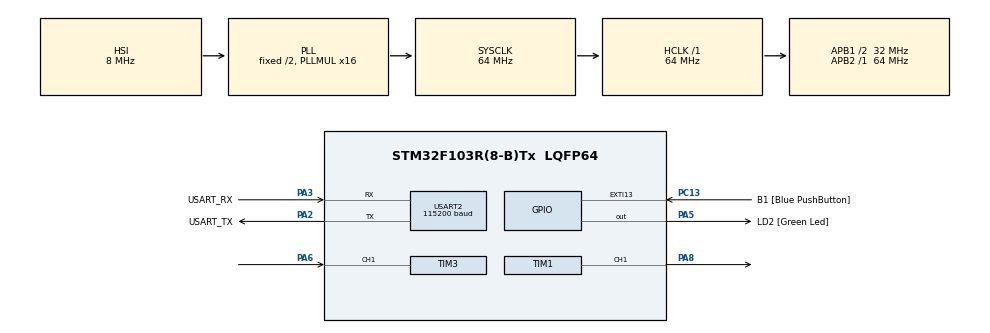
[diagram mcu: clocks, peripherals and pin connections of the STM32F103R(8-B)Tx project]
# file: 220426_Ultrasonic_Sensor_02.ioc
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Mcu.Family=STM32F1
Mcu.Name=STM32F103R(8-B)Tx
Mcu.Package=LQFP64
NVIC.EXTI15_10_IRQn=true\:0\:0\:false\:false\:true\:true\:true\:true
NVIC.PriorityGroup=NVIC_PRIORITYGROUP_4
NVIC.TIM3_IRQn=true\:0\:0\:false\:false\:true\:true\:true\:true
PA13.GPIO_Label=TMS
PA13.Mode=Serial_Wire
PA13.Signal=SYS_JTMS-SWDIO
PA14.GPIO_Label=TCK
PA14.Mode=Serial_Wire
PA14.Signal=SYS_JTCK-SWCLK
PA2.GPIO_Label=USART_TX
PA2.GPIO_Mode=GPIO_MODE_AF_PP
PA2.GPIO_PuPd=GPIO_NOPULL
PA2.GPIO_Speed=GPIO_SPEED_FREQ_LOW
PA2.Mode=Asynchronous
PA2.Signal=USART2_TX
PA3.GPIO_Label=USART_RX
PA3.GPIO_Mode=GPIO_MODE_AF_PP
PA3.GPIO_PuPd=GPIO_NOPULL
PA3.GPIO_Speed=GPIO_SPEED_FREQ_LOW
PA3.Mode=Asynchronous
PA3.Signal=USART2_RX
PA5.GPIO_Label=LD2 [Green Led]
PA5.GPIO_ModeDefaultOutputPP=GPIO_MODE_OUTPUT_PP
PA5.GPIO_PuPd=GPIO_NOPULL
PA5.GPIO_Speed=GPIO_SPEED_FREQ_LOW
PA5.Signal=GPIO_Output
PA6.Signal=S_TIM3_CH1
PA8.Signal=S_TIM1_CH1
PB3.GPIO_Label=SWO
PB3.Signal=SYS_JTDO-TRACESWO
PC13-TAMPER-RTC.GPIO_Label=B1 [Blue PushButton]
PC13-TAMPER-RTC.GPIO_PuPd=GPIO_NOPULL
PC13-TAMPER-RTC.Signal=GPXTI13
PC14-OSC32_IN.Mode=LSE-External-Oscillator
PC14-OSC32_IN.Signal=RCC_OSC32_IN
PC15-OSC32_OUT.Mode=LSE-External-Oscillator
PC15-OSC32_OUT.Signal=RCC_OSC32_OUT
PD0-OSC_IN.Mode=HSE-External-Clock-Source
PD0-OSC_IN.Signal=RCC_OSC_IN
PD1-OSC_OUT.Mode=HSE-External-Clock-Source
PD1-OSC_OUT.Signal=RCC_OSC_OUT
ProjectManager.HeapSize=0x200
ProjectManager.StackSize=0x400
ProjectManager.TargetToolchain=STM32CubeIDE
RCC.AHBFreq_Value=64000000
RCC.APB1CLKDivider=RCC_HCLK_DIV2
RCC.APB1Freq_Value=32000000
RCC.APB1TimFreq_Value=64000000
RCC.APB2Freq_Value=64000000
RCC.APB2TimFreq_Value=64000000
RCC.HCLKFreq_Value=64000000
RCC.PLLMUL=RCC_PLL_MUL16
RCC.RTCClockSelection=RCC_RTCCLKSOURCE_LSE
RCC.SYSCLKFreq_VALUE=64000000
RCC.SYSCLKSource=RCC_SYSCLKSOURCE_PLLCLK
RCC.USBFreq_Value=64000000
SH.S_TIM1_CH1.0=TIM1_CH1,PWM Generation1 CH1
SH.S_TIM3_CH1.0=TIM3_CH1,Input_Capture1_from_TI1
TIM1.Channel-PWM\ Generation1\ CH1=TIM_CHANNEL_1
TIM1.Period=1000-1
TIM1.Prescaler=64-1
TIM1.Pulse-PWM\ Generation1\ CH1=500-1
TIM3.Channel-Input_Capture1_from_TI1=TIM_CHANNEL_1
TIM3.Prescaler=64-1
USART2.BaudRate=115200
USART2.VirtualMode=VM_ASYNC
VP_TIM1_VS_ClockSourceINT.Mode=Internal
VP_TIM3_VS_ClockSourceINT.Mode=Internal
board=NUCLEO-F103RB

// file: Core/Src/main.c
/* USER CODE BEGIN Header */
/**
 ******************************************************************************
 * @file           : main.c
 * @brief          : Main program body
 ******************************************************************************
 * @attention
 *
 * Copyright (c) 2022 STMicroelectronics.
 * All rights reserved.
 *
 * This software is licensed under terms that can be found in the LICENSE file
 * in the root directory of this software component.
 * If no LICENSE file comes with this software, it is provided AS-IS.
 *
 ******************************************************************************
 */
/* USER CODE END Header */
#include "main.h"

 TIM_HandleTypeDef htim1;
TIM_HandleTypeDef htim3;

UART_HandleTypeDef huart2;

/* USER CODE BEGIN PV */
uint32_t IC1, IC2, ic;
int captureFlag=0;
float freq, dis;
/* USER CODE END PV */

void SystemClock_Config(void);
static void MX_GPIO_Init(void);
static void MX_USART2_UART_Init(void);
static void MX_TIM1_Init(void);
static void MX_TIM3_Init(void);
/* USER CODE BEGIN PFP */
#ifdef __GNUC__
/* With GCC, small printf (option LD Linker->Libraries->Small printf
 set to 'Yes') calls __io_putchar() */
#define PUTCHAR_PROTOTYPE int __io_putchar(int ch)
#else
#define PUTCHAR_PROTOTYPE int fputc(int ch, FILE *f)
#endif /* __GNUC__ */
PUTCHAR_PROTOTYPE {
	/* Place your implementation of fputc here */
	/* e.g. write a character to the USART1 and Loop until the end of transmission */
	HAL_UART_Transmit(&huart2, (uint8_t*) &ch, 1, 0xFFFF);

	return ch;
}
/* USER CODE END PFP */

int main(void)
{

  /* MCU Configuration--------------------------------------------------------*/

  /* Reset of all peripherals, Initializes the Flash interface and the Systick. */
  HAL_Init();

  /* Configure the system clock */
  SystemClock_Config();

  /* Initialize all configured peripherals */
  MX_GPIO_Init();
  MX_USART2_UART_Init();
  MX_TIM1_Init();
  MX_TIM3_Init();
  /* USER CODE BEGIN 2 */
	HAL_TIM_PWM_Start(&htim1, TIM_CHANNEL_1);
	HAL_TIM_IC_Start_IT(&htim3, TIM_CHANNEL_1);
  /* USER CODE END 2 */

  /* Infinite loop */
  /* USER CODE BEGIN WHILE */
	while (1) {
		//printf("main\n\r");
    /* USER CODE END WHILE */

	}
}

void SystemClock_Config(void)
{
  RCC_OscInitTypeDef RCC_OscInitStruct = {0};
  RCC_ClkInitTypeDef RCC_ClkInitStruct = {0};

  /** Initializes the RCC Oscillators according to the specified parameters
  * in the RCC_OscInitTypeDef structure.
  */
  RCC_OscInitStruct.OscillatorType = RCC_OSCILLATORTYPE_HSI;
  RCC_OscInitStruct.HSIState = RCC_HSI_ON;
  RCC_OscInitStruct.HSICalibrationValue = RCC_HSICALIBRATION_DEFAULT;
  RCC_OscInitStruct.PLL.PLLState = RCC_PLL_ON;
  RCC_OscInitStruct.PLL.PLLSource = RCC_PLLSOURCE_HSI_DIV2;
  RCC_OscInitStruct.PLL.PLLMUL = RCC_PLL_MUL16;
  if (HAL_RCC_OscConfig(&RCC_OscInitStruct) != HAL_OK)
  {
    Error_Handler();
  }

  /** Initializes the CPU, AHB and APB buses clocks
  */
  RCC_ClkInitStruct.ClockType = RCC_CLOCKTYPE_HCLK|RCC_CLOCKTYPE_SYSCLK
                              |RCC_CLOCKTYPE_PCLK1|RCC_CLOCKTYPE_PCLK2;
  RCC_ClkInitStruct.SYSCLKSource = RCC_SYSCLKSOURCE_PLLCLK;
  RCC_ClkInitStruct.AHBCLKDivider = RCC_SYSCLK_DIV1;
  RCC_ClkInitStruct.APB1CLKDivider = RCC_HCLK_DIV2;
  RCC_ClkInitStruct.APB2CLKDivider = RCC_HCLK_DIV1;

  if (HAL_RCC_ClockConfig(&RCC_ClkInitStruct, FLASH_LATENCY_2) != HAL_OK)
  {
    Error_Handler();
  }
}

static void MX_TIM1_Init(void)
{

  TIM_ClockConfigTypeDef sClockSourceConfig = {0};
  TIM_MasterConfigTypeDef sMasterConfig = {0};
  TIM_OC_InitTypeDef sConfigOC = {0};
  TIM_BreakDeadTimeConfigTypeDef sBreakDeadTimeConfig = {0};

  htim1.Instance = TIM1;
  htim1.Init.Prescaler = 64-1;
  htim1.Init.CounterMode = TIM_COUNTERMODE_UP;
  htim1.Init.Period = 1000-1;
  htim1.Init.ClockDivision = TIM_CLOCKDIVISION_DIV1;
  htim1.Init.RepetitionCounter = 0;
  htim1.Init.AutoReloadPreload = TIM_AUTORELOAD_PRELOAD_DISABLE;
  if (HAL_TIM_Base_Init(&htim1) != HAL_OK)
  {
    Error_Handler();
  }
  sClockSourceConfig.ClockSource = TIM_CLOCKSOURCE_INTERNAL;
  if (HAL_TIM_ConfigClockSource(&htim1, &sClockSourceConfig) != HAL_OK)
  {
    Error_Handler();
  }
  if (HAL_TIM_PWM_Init(&htim1) != HAL_OK)
  {
    Error_Handler();
  }
  sMasterConfig.MasterOutputTrigger = TIM_TRGO_RESET;
  sMasterConfig.MasterSlaveMode = TIM_MASTERSLAVEMODE_DISABLE;
  if (HAL_TIMEx_MasterConfigSynchronization(&htim1, &sMasterConfig) != HAL_OK)
  {
    Error_Handler();
  }
  sConfigOC.OCMode = TIM_OCMODE_PWM1;
  sConfigOC.Pulse = 500-1;
  sConfigOC.OCPolarity = TIM_OCPOLARITY_HIGH;
  sConfigOC.OCNPolarity = TIM_OCNPOLARITY_HIGH;
  sConfigOC.OCFastMode = TIM_OCFAST_DISABLE;
  sConfigOC.OCIdleState = TIM_OCIDLESTATE_RESET;
  sConfigOC.OCNIdleState = TIM_OCNIDLESTATE_RESET;
  if (HAL_TIM_PWM_ConfigChannel(&htim1, &sConfigOC, TIM_CHANNEL_1) != HAL_OK)
  {
    Error_Handler();
  }
  sBreakDeadTimeConfig.OffStateRunMode = TIM_OSSR_DISABLE;
  sBreakDeadTimeConfig.OffStateIDLEMode = TIM_OSSI_DISABLE;
  sBreakDeadTimeConfig.LockLevel = TIM_LOCKLEVEL_OFF;
  sBreakDeadTimeConfig.DeadTime = 0;
  sBreakDeadTimeConfig.BreakState = TIM_BREAK_DISABLE;
  sBreakDeadTimeConfig.BreakPolarity = TIM_BREAKPOLARITY_HIGH;
  sBreakDeadTimeConfig.AutomaticOutput = TIM_AUTOMATICOUTPUT_DISABLE;
  if (HAL_TIMEx_ConfigBreakDeadTime(&htim1, &sBreakDeadTimeConfig) != HAL_OK)
  {
    Error_Handler();
  }
  HAL_TIM_MspPostInit(&htim1);

}

static void MX_TIM3_Init(void)
{

  TIM_ClockConfigTypeDef sClockSourceConfig = {0};
  TIM_MasterConfigTypeDef sMasterConfig = {0};
  TIM_IC_InitTypeDef sConfigIC = {0};

  htim3.Instance = TIM3;
  htim3.Init.Prescaler = 64-1;
  htim3.Init.CounterMode = TIM_COUNTERMODE_UP;
  htim3.Init.Period = 65535;
  htim3.Init.ClockDivision = TIM_CLOCKDIVISION_DIV1;
  htim3.Init.AutoReloadPreload = TIM_AUTORELOAD_PRELOAD_DISABLE;
  if (HAL_TIM_Base_Init(&htim3) != HAL_OK)
  {
    Error_Handler();
  }
  sClockSourceConfig.ClockSource = TIM_CLOCKSOURCE_INTERNAL;
  if (HAL_TIM_ConfigClockSource(&htim3, &sClockSourceConfig) != HAL_OK)
  {
    Error_Handler();
  }
  if (HAL_TIM_IC_Init(&htim3) != HAL_OK)
  {
    Error_Handler();
  }
  sMasterConfig.MasterOutputTrigger = TIM_TRGO_RESET;
  sMasterConfig.MasterSlaveMode = TIM_MASTERSLAVEMODE_DISABLE;
  if (HAL_TIMEx_MasterConfigSynchronization(&htim3, &sMasterConfig) != HAL_OK)
  {
    Error_Handler();
  }
  sConfigIC.ICPolarity = TIM_INPUTCHANNELPOLARITY_RISING;
  sConfigIC.ICSelection = TIM_ICSELECTION_DIRECTTI;
  sConfigIC.ICPrescaler = TIM_ICPSC_DIV1;
  sConfigIC.ICFilter = 0;
  if (HAL_TIM_IC_ConfigChannel(&htim3, &sConfigIC, TIM_CHANNEL_1) != HAL_OK)
  {
    Error_Handler();
  }

}

static void MX_USART2_UART_Init(void)
{

  huart2.Instance = USART2;
  huart2.Init.BaudRate = 115200;
  huart2.Init.WordLength = UART_WORDLENGTH_8B;
  huart2.Init.StopBits = UART_STOPBITS_1;
  huart2.Init.Parity = UART_PARITY_NONE;
  huart2.Init.Mode = UART_MODE_TX_RX;
  huart2.Init.HwFlowCtl = UART_HWCONTROL_NONE;
  huart2.Init.OverSampling = UART_OVERSAMPLING_16;
  if (HAL_UART_Init(&huart2) != HAL_OK)
  {
    Error_Handler();
  }

}

static void MX_GPIO_Init(void)
{
  GPIO_InitTypeDef GPIO_InitStruct = {0};

  /* GPIO Ports Clock Enable */
  __HAL_RCC_GPIOC_CLK_ENABLE();
  __HAL_RCC_GPIOD_CLK_ENABLE();
  __HAL_RCC_GPIOA_CLK_ENABLE();
  __HAL_RCC_GPIOB_CLK_ENABLE();

  /*Configure GPIO pin Output Level */
  HAL_GPIO_WritePin(LD2_GPIO_Port, LD2_Pin, GPIO_PIN_RESET);

  /*Configure GPIO pin : B1_Pin */
  GPIO_InitStruct.Pin = B1_Pin;
  GPIO_InitStruct.Mode = GPIO_MODE_IT_RISING;
  GPIO_InitStruct.Pull = GPIO_NOPULL;
  HAL_GPIO_Init(B1_GPIO_Port, &GPIO_InitStruct);

  /*Configure GPIO pin : LD2_Pin */
  GPIO_InitStruct.Pin = LD2_Pin;
  GPIO_InitStruct.Mode = GPIO_MODE_OUTPUT_PP;
  GPIO_InitStruct.Pull = GPIO_NOPULL;
  GPIO_InitStruct.Speed = GPIO_SPEED_FREQ_LOW;
  HAL_GPIO_Init(LD2_GPIO_Port, &GPIO_InitStruct);

  /* EXTI interrupt init*/
  HAL_NVIC_SetPriority(EXTI15_10_IRQn, 0, 0);
  HAL_NVIC_EnableIRQ(EXTI15_10_IRQn);

}

/* USER CODE BEGIN 4 */
void HAL_TIM_IC_CaptureCallback(TIM_HandleTypeDef *htim) {
	if (htim->Channel == HAL_TIM_ACTIVE_CHANNEL_1) { //if channel is '1'
		if (captureFlag == 0) {
			IC1 = HAL_TIM_ReadCapturedValue(&htim3, TIM_CHANNEL_1);
			//IC1 = TIM2->CCR1;

			captureFlag = 1;
			__HAL_TIM_SET_CAPTUREPOLARITY(&htim3, TIM_CHANNEL_1, TIM_INPUTCHANNELPOLARITY_FALLING);

			printf("cap!\n\r");
		}

		else if (captureFlag == 1) {
			IC2 = HAL_TIM_ReadCapturedValue(&htim3, TIM_CHANNEL_1);
			//IC2 = TIM2->CCR1;
			captureFlag = 0;
			if(IC2>IC1){
				ic = IC2 - IC1;
			}
			else{
				ic = (0xFFFF-IC1) + IC2; //uint32_t max = 0xFFFF
			}
			//freq = 1 / (ic * 0.000001); //IC1, IC2 parameters are frequency?
			//freq = 1 / ((IC2 - IC1) * psr/clk);
			//dis = ic*0.34/2;

			__HAL_TIM_SET_COUNTER(&htim3, 0); // set counter(=CNT) 0
			__HAL_TIM_SET_CAPTUREPOLARITY(&htim3, TIM_CHANNEL_1, TIM_INPUTCHANNELPOLARITY_RISING);
			//TIM3->CCER &= ~(1<< 1);

			printf("ic1 : %u, ic2 : %u\n\r", IC1, IC2);
			printf("t_us : %u\n\r", ic);
		}
	}
}
//void HAL_TIM_IC_CaptureCallback(TIM_HandleTypeDef *htim) {
//	if (htim->Channel == HAL_TIM_ACTIVE_CHANNEL_1) { //if channel is '1'
//		if (captureFlag == 0) {
//			IC1 = HAL_TIM_ReadCapturedValue(&htim3, TIM_CHANNEL_1);
//			//IC1 = TIM2->CCR1;
//			captureFlag = 1;
//			printf("cap!\n\r");
//		} else if (captureFlag == 1) {
//			IC2 = HAL_TIM_ReadCapturedValue(&htim3, TIM_CHANNEL_1);
//			//IC2 = TIM2->CCR1;
//			captureFlag = 0;
//			freq = 1 / ((IC2 - IC1) * 0.000001); //IC1, IC2 parameters are frequency?
//			//freq = 1 / ((IC2 - IC1) * psr/clk);
//			__HAL_TIM_SET_COUNTER(&htim3, 0); // set counter(=CNT) 0
//			printf("freq : %f\n\r", freq);
//		}
//	}
//}
/* USER CODE END 4 */

void Error_Handler(void)
{
	__disable_irq();
	while (1) {
	}
}
